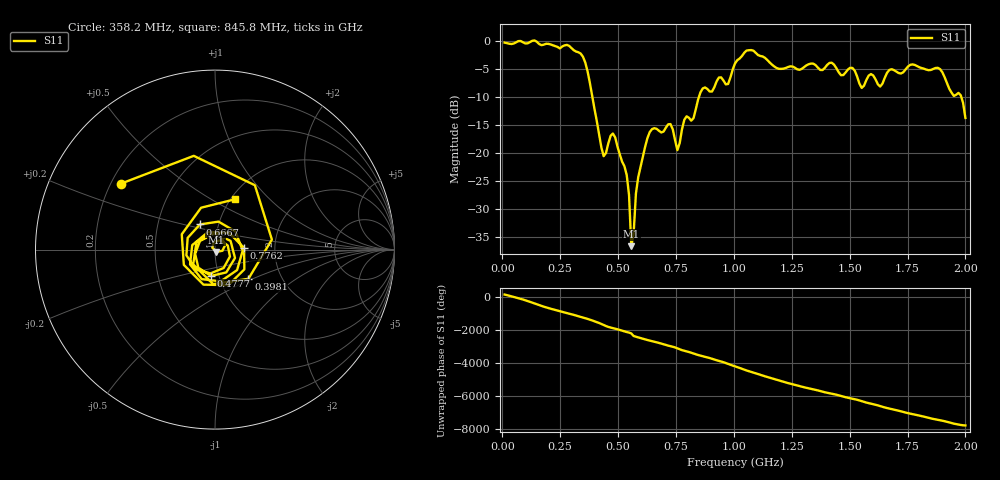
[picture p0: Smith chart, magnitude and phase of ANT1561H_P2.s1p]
!Created with skrf (http://scikit-rf.org).
# Hz S RI R 50.0
!freq ReS11 ImS11
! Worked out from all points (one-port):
!   201 points, 10 MHz to 2 GHz, reference 50 ohm
!   lowest |S11| = -36.7 dB at 557.2 MHz (marker M1), VSWR 1.03, Z = 50.7 - j1.29 ohm
!   |S11| at or under -10 dB: 388.8 MHz to 849.4 MHz (460.7 MHz wide, 74.4 % of centre); 1.982 GHz to end of sweep
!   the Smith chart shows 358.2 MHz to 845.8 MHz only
!   S11 on the Smith chart (normalised r, x): 358.2 MHz: 0.24, +0.30; 398.1 MHz: 1.36, -0.47; 477.6 MHz: 0.92, -0.28; 666.7 MHz: 0.81, +0.23; 776.1 MHz: 1.39, +0.03; 845.8 MHz: 1.04, +0.64
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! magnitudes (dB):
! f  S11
! 10 MHz  -0.3
! 258.8 MHz  -1.0
! 358.2 MHz  -3.9
! 398.1 MHz  -12.1
! 437.9 MHz  -20.6
! 477.6 MHz  -16.6
! 507.5 MHz  -20.3
! 537.4 MHz  -24.0
! 547.3 MHz  -27.6
! 557.2 MHz  -36.7
! 587.1 MHz  -24.4
! 626.9 MHz  -17.4
! 666.7 MHz  -15.7
! 726.4 MHz  -14.9
! 756.2 MHz  -19.5
! 776.1 MHz  -15.8
! 845.8 MHz  -10.5
! 935.4 MHz  -6.6
! 975.1 MHz  -7.7
! 1.005 GHz  -4.0
! 1.075 GHz  -1.6
! 1.254 GHz  -4.6
! 1.502 GHz  -4.8
! 1.552 GHz  -8.4
! 1.751 GHz  -4.6
! 1.891 GHz  -5.0
! 1.98 GHz  -9.7
! 2 GHz  -13.8
